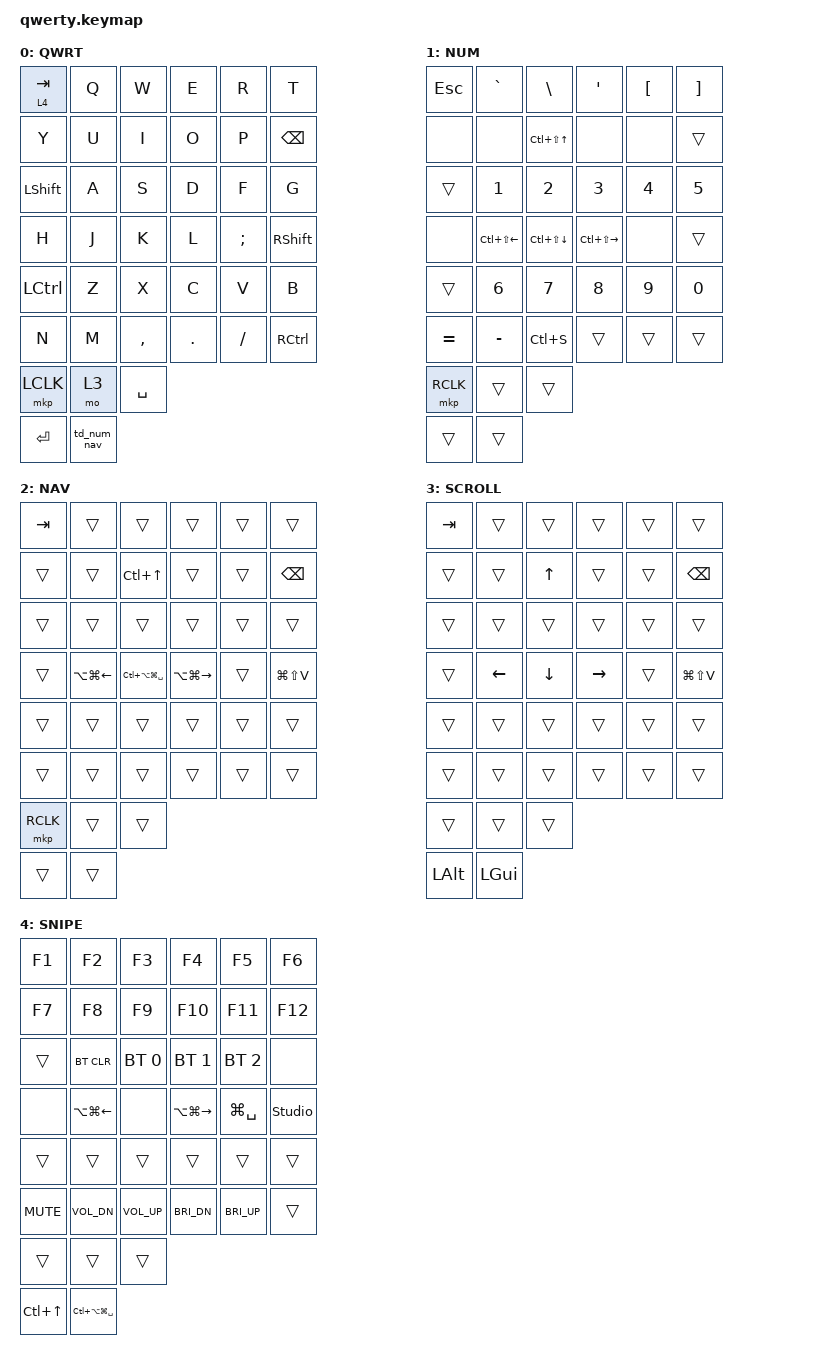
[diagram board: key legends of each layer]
#define DEFAULT 0
#define NUM     1
#define NAV    2
#define SCROLL  3
#define SNIPE   4

#include <behaviors/mouse_keys.dtsi>
#include <behaviors.dtsi>
#include "behaviors.dtsi"
#include <dt-bindings/zmk/bt.h>
#include <dt-bindings/zmk/keys.h>
#include <dt-bindings/zmk/mouse.h>

&lt {
    tapping-term-ms = <240>;
    flavor = "hold-preferred";
    quick-tap-ms = <0>;
};

&mt {
    tapping-term-ms = <100>;
    flavor = "tap-preferred";
    quick-tap-ms = <75>;
};

&caps_word { continue-list = <UNDERSCORE MINUS>; };

/ {
    keymap {
        compatible = "zmk,keymap";

        default_layer {
            display-name = "QWRT";
            bindings = <
                &lt 4 TAB       &kp Q        &kp W        &kp E        &kp R        &kp T
                &kp Y           &kp U        &kp I        &kp O        &kp P        &kp BACKSPACE

                &kp LEFT_SHIFT  &kp A        &kp S        &kp D        &kp F        &kp G
                &kp H           &kp J        &kp K        &kp L        &kp SEMI     &kp RIGHT_SHIFT

                &kp LCTRL       &kp Z        &kp X        &kp C        &kp V        &kp B
                &kp N           &kp M        &kp COMMA    &kp DOT      &kp SLASH    &kp RCTRL

                &mkp LCLK       &mo 3        &kp SPACE
                &kp ENTER       &td_num_nav
            >;
        };

        number_layer {
            display-name = "NUM";
            bindings = <
                &kp ESC              &kp GRAVE             &kp BACKSLASH    &kp APOSTROPHE      &kp LEFT_BRACKET    &kp RIGHT_BRACKET
                &none                &none                  &kp LC(LS(UP))   &none               &none                &trans

                &trans               &kp NUMBER_1          &kp NUMBER_2     &kp NUMBER_3        &kp NUMBER_4        &kp NUMBER_5
                &none                &kp LC(LS(LEFT))      &kp LC(LS(DOWN))  &kp LC(LS(RIGHT))  &none                &trans

                &trans               &kp NUMBER_6         &kp NUMBER_7      &kp NUMBER_8        &kp NUMBER_9        &kp NUMBER_0
                &kp EQUAL            &kp MINUS            &kp LC(S)         &trans             &trans              &trans

                &mkp RCLK            &trans                 &trans
                &trans               &trans
            >;
        };

        mouse_layer {
            display-name = "NAV";
            bindings = <
                &kp TAB         &trans          &trans       &trans       &trans       &trans
                &trans          &trans        &kp LC(UP)   &trans          &trans            &kp BACKSPACE

                &trans          &trans       &trans       &trans       &trans           &trans
                &trans          &kp LA(LG(LEFT))  &kp LC(LA(LG(SPACE)))  &kp LA(LG(RIGHT))  &trans     &kp LG(LS(V))

                &trans          &trans       &trans       &trans       &trans           &trans
                &trans          &trans       &trans       &trans       &trans           &trans

                &mkp RCLK       &trans       &trans
                &trans          &trans
            >;
        };

        scroll_layer {
            display-name = "SCROLL";
            bindings = <
                &kp TAB         &trans          &trans       &trans       &trans       &trans
                &trans          &trans        &kp UP       &trans          &trans            &kp BACKSPACE

                &trans          &trans       &trans       &trans       &trans           &trans
                &trans           &kp LEFT     &kp DOWN     &kp RIGHT    &trans            &kp LG(LS(V))

                &trans          &trans       &trans       &trans       &trans           &trans
                &trans          &trans       &trans       &trans       &trans           &trans

                &trans       &trans       &trans
                &kp LALT   &kp LGUI
            >;
        };

        snipe_layer {
            display-name = "SNIPE";
            bindings = <
                &kp F1      &kp F2       &kp F3           &kp F4           &kp F5         &kp F6
                &kp F7      &kp F8       &kp F9           &kp F10          &kp F11        &kp F12

                &trans      &bt BT_CLR   &bt BT_SEL 0     &bt BT_SEL 1     &bt BT_SEL 2   &none
                &none       &kp LA(LG(LEFT))  &none          &kp LA(LG(RIGHT))    &kp LG(SPACE)  &studio_unlock

                &trans      &trans       &trans           &trans           &trans         &trans
                &kp C_MUTE  &kp C_VOL_DN &kp C_VOL_UP     &kp C_BRI_DN     &kp C_BRI_UP   &trans

                &trans              &trans              &trans
                &kp LC(UP)   &kp LC(LA(LG(SPACE)))
            >;
        };
    };
};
